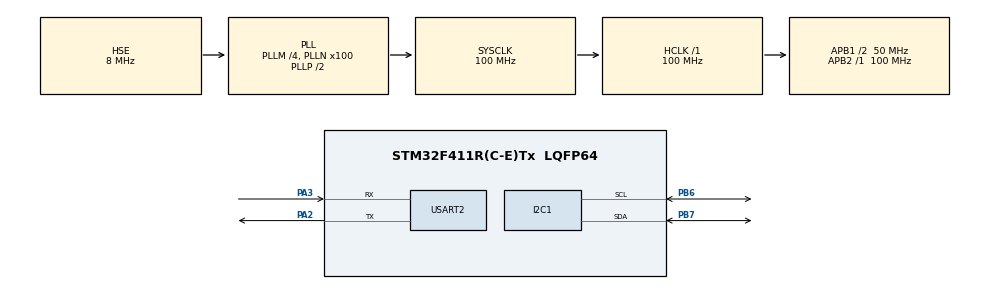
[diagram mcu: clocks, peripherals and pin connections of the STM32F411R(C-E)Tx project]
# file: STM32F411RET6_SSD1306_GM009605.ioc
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Mcu.Family=STM32F4
Mcu.Name=STM32F411R(C-E)Tx
Mcu.Package=LQFP64
NVIC.I2C1_ER_IRQn=true\:0\:0\:false\:false\:true\:true\:true\:true
NVIC.I2C1_EV_IRQn=true\:0\:0\:false\:false\:true\:true\:true\:true
NVIC.PriorityGroup=NVIC_PRIORITYGROUP_4
PA2.Mode=Asynchronous
PA2.Signal=USART2_TX
PA3.Mode=Asynchronous
PA3.Signal=USART2_RX
PB6.Mode=I2C
PB6.Signal=I2C1_SCL
PB7.Mode=I2C
PB7.Signal=I2C1_SDA
PH0\ -\ OSC_IN.Mode=HSE-External-Oscillator
PH0\ -\ OSC_IN.Signal=RCC_OSC_IN
PH1\ -\ OSC_OUT.Mode=HSE-External-Oscillator
PH1\ -\ OSC_OUT.Signal=RCC_OSC_OUT
ProjectManager.HeapSize=0x200
ProjectManager.StackSize=0x400
ProjectManager.TargetToolchain=STM32CubeIDE
RCC.48MHZClocksFreq_Value=50000000
RCC.AHBFreq_Value=100000000
RCC.APB1CLKDivider=RCC_HCLK_DIV2
RCC.APB1Freq_Value=50000000
RCC.APB1TimFreq_Value=100000000
RCC.APB2Freq_Value=100000000
RCC.APB2TimFreq_Value=100000000
RCC.CortexFreq_Value=100000000
RCC.HCLKFreq_Value=100000000
RCC.HSE_VALUE=8000000
RCC.HSI_VALUE=16000000
RCC.PLLM=4
RCC.PLLN=100
RCC.PLLSourceVirtual=RCC_PLLSOURCE_HSE
RCC.SYSCLKFreq_VALUE=100000000
RCC.SYSCLKSource=RCC_SYSCLKSOURCE_PLLCLK
RCC.VCOOutputFreq_Value=200000000
USART2.VirtualMode=VM_ASYNC
board=custom

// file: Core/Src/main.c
/* USER CODE BEGIN Header */
/**
 ******************************************************************************
 * @file           : main.c
 * @brief          : Main program body
 ******************************************************************************
 * @attention
 *
 * Copyright (c) 2024 STMicroelectronics.
 * All rights reserved.
 *
 * This software is licensed under terms that can be found in the LICENSE file
 * in the root directory of this software component.
 * If no LICENSE file comes with this software, it is provided AS-IS.
 *
 ******************************************************************************
 */
/* USER CODE END Header */
#include "main.h"
#define PLATFORM_STM32_HAL
#include <delay.h>
#include <xuart.h>
#include <i2cclient.h>
#include <i2cscanner.h>
#include <display/SSD1306.h>
#include <display/fonts/fontCP866_8x8.h>
#include <display/fonts/font_mono_10x18.h>
#include <display/fonts/font_mono_10x18_min.h>

I2C_HandleTypeDef hi2c1;

UART_HandleTypeDef huart2;

void SystemClock_Config(void);
static void MX_GPIO_Init(void);
static void MX_I2C1_Init(void);
static void MX_USART2_UART_Init(void);

int main(void)
{

    /* MCU Configuration--------------------------------------------------------*/

    /* Reset of all peripherals, Initializes the Flash interface and the Systick. */
    HAL_Init();

    /* Configure the system clock */
    SystemClock_Config();

    /* Initialize all configured peripherals */
    MX_GPIO_Init();
    MX_I2C1_Init();
    MX_USART2_UART_Init();
    /* USER CODE BEGIN 2 */

    static UARTLogger logger(&huart2);
    uint8_t ic = I2CScanner::enumerate(&hi2c1, [](auto addr) {
        logger.writeLine("I2C device found at address %#2X", addr);
    });
    logger.writeLine("%d I2C devices found", ic);
    I2CPollingModeMaster i2c(&hi2c1);
    SSD1306 display(&i2c);
    display.init();
    Delay::wait(1000);

    display.fill(0);
    for (size_t i = 0; i < 8; ++i) {
        display.setPos(i, i);
        display.printString("0", FontCP866_8x8);
    }
    Delay::wait(1000);
    display.setPos(2, 5);
    display.printString("Hello, world!!!", FontCP866_8x8);
    Delay::wait(1000);
    uint8_t lb[8] = {0x41,0x7F,0x7F,0x49,0x1D,0x01,0x03,0x00};
    display.fillWith(lb);
    Delay::wait(1000);
    display.setGraphicsMode();
    display.fill(0);
    /*display.drawLine(0xFFFFFF, 10, 0, 10, 63);
    display.drawLine(0xFFFFFF, 0, 50, 100, 50);
    display.drawLine(0xFFFFFF, 0, 0, 127, 63);
    display.drawLine(0xFFFFFF, 20, 0, 21, 63); // "\"
    display.drawLine(0xFFFFFF, 20, 63, 21, 0); // /
    display.drawLine(0xFFFFFF, 20, 63, 19, 0); // "\"
    display.drawLine(0xFFFFFF, 20, 63, 15, 0); // "\"
    display.drawLine(0xFFFFFF, 20, 63, 10, 0); // "\"
    display.drawEllipse(0xFFFFFF, 10, 10, 100, 40);
    display.drawRectangle(0xFFFFFF, 10, 10, 100, 40);

    display.fillRectangle(0xFFFFFFFF, 50, 20, 40, 15);
    display.fillEllipse(0xFFFFFFFF, 50, 40, 40, 15);*/

    /*uint8_t bmp19x19[] = {
            0b10000000,
            0b01000000,
            0b00101000,
            0b00010100,
            0b00001000,
            0b10000100,
            0b01000010,
            0b00001001,
            0b00000100,
            0b10000000,
            0b11000000,
            0b01100000,
            0b00011000,
            0b00001100,
            0b00000100,
            0b10000010,
            0b01000001,
            0b00001000,
            0b10000100,
            0b01000000,
            0b10100000,
            0b01010000,
            0b00001000,
            0b00000101,
            0b00000010,
            0b10000001,
            0b00010000,
            0b10001000,
            0b01000001,
            0b00100000,
            0b10010000,
            0b00011000,
            0b00001100,
            0b00000011,
            0b00000001,
            0b10000000,
            0b10010000,
            0b01001000,
            0b00100001,
            0b00010000,
            0b10001000,
            0b00010100,
            0b00001010,
            0b00000001,
            0b00000000,
            0b10000000,
    };

    display.drawBitmap(7, 29, bmp19x19, 19, 19, RasterOpCode::SRCAND);
    display.drawBitmap(7 + 19, 29, bmp19x19, 19, 19, RasterOpCode::SRCCOPY);
    display.drawBitmap(7 + 19*2, 29, bmp19x19, 19, 19, RasterOpCode::SRCOR);
    display.drawBitmap(7 + 19*3, 29, bmp19x19, 19, 19, RasterOpCode::SRCXOR);*/

    int charWidth = 10;
    int charHeight = 18;

    display.fill(0);
    display.drawString(0xFFFFFFFF, 0, 0, "Hello, world",
            Font10x18_min, Font10x18_min_remap, Font10x18_min_remap_char_count,
            charWidth, charHeight);
    display.flush();

    /*uint8_t ch = 0;
    char str[2] = {0, 0};
    for (int a = 0; a < 8; ++a) {
        display.fill(0);
        for (int r = 0; r < 3; ++r) {
            for (int c = 0; c < 13; c++) {
                str[0] = ch == 0 ? ' ' : ch;
                ch++;
                display.drawString(0xFFFFFFFF, c * charWidth, r * charHeight, str, Font10x18, charWidth, charHeight);
            }
        }
        display.flush();
        Delay::wait(3000);
    }*/
    /* USER CODE END 2 */

    /* Infinite loop */
    while (1) {

        /* USER CODE BEGIN 3 */
        //display.fillWith(0b11111111);
        //display.fillWith(letterA);
    }
    /* USER CODE END 3 */
}

void SystemClock_Config(void)
{
    RCC_OscInitTypeDef RCC_OscInitStruct = { 0 };
    RCC_ClkInitTypeDef RCC_ClkInitStruct = { 0 };

    /** Configure the main internal regulator output voltage
     */
    __HAL_RCC_PWR_CLK_ENABLE();
    __HAL_PWR_VOLTAGESCALING_CONFIG(PWR_REGULATOR_VOLTAGE_SCALE1);

    /** Initializes the RCC Oscillators according to the specified parameters
     * in the RCC_OscInitTypeDef structure.
     */
    RCC_OscInitStruct.OscillatorType = RCC_OSCILLATORTYPE_HSE;
    RCC_OscInitStruct.HSEState = RCC_HSE_ON;
    RCC_OscInitStruct.PLL.PLLState = RCC_PLL_ON;
    RCC_OscInitStruct.PLL.PLLSource = RCC_PLLSOURCE_HSE;
    RCC_OscInitStruct.PLL.PLLM = 4;
    RCC_OscInitStruct.PLL.PLLN = 100;
    RCC_OscInitStruct.PLL.PLLP = RCC_PLLP_DIV2;
    RCC_OscInitStruct.PLL.PLLQ = 4;
    if (HAL_RCC_OscConfig(&RCC_OscInitStruct) != HAL_OK) {
        Error_Handler();
    }

    /** Initializes the CPU, AHB and APB buses clocks
     */
    RCC_ClkInitStruct.ClockType = RCC_CLOCKTYPE_HCLK | RCC_CLOCKTYPE_SYSCLK
            | RCC_CLOCKTYPE_PCLK1 | RCC_CLOCKTYPE_PCLK2;
    RCC_ClkInitStruct.SYSCLKSource = RCC_SYSCLKSOURCE_PLLCLK;
    RCC_ClkInitStruct.AHBCLKDivider = RCC_SYSCLK_DIV1;
    RCC_ClkInitStruct.APB1CLKDivider = RCC_HCLK_DIV2;
    RCC_ClkInitStruct.APB2CLKDivider = RCC_HCLK_DIV1;

    if (HAL_RCC_ClockConfig(&RCC_ClkInitStruct, FLASH_LATENCY_3) != HAL_OK) {
        Error_Handler();
    }
}

static void MX_I2C1_Init(void)
{

    hi2c1.Instance = I2C1;
    hi2c1.Init.ClockSpeed = 100000;
    hi2c1.Init.DutyCycle = I2C_DUTYCYCLE_2;
    hi2c1.Init.OwnAddress1 = 0;
    hi2c1.Init.AddressingMode = I2C_ADDRESSINGMODE_7BIT;
    hi2c1.Init.DualAddressMode = I2C_DUALADDRESS_DISABLE;
    hi2c1.Init.OwnAddress2 = 0;
    hi2c1.Init.GeneralCallMode = I2C_GENERALCALL_DISABLE;
    hi2c1.Init.NoStretchMode = I2C_NOSTRETCH_DISABLE;
    if (HAL_I2C_Init(&hi2c1) != HAL_OK) {
        Error_Handler();
    }

}

static void MX_USART2_UART_Init(void)
{

    huart2.Instance = USART2;
    huart2.Init.BaudRate = 115200;
    huart2.Init.WordLength = UART_WORDLENGTH_8B;
    huart2.Init.StopBits = UART_STOPBITS_1;
    huart2.Init.Parity = UART_PARITY_NONE;
    huart2.Init.Mode = UART_MODE_TX_RX;
    huart2.Init.HwFlowCtl = UART_HWCONTROL_NONE;
    huart2.Init.OverSampling = UART_OVERSAMPLING_16;
    if (HAL_UART_Init(&huart2) != HAL_OK) {
        Error_Handler();
    }

}

static void MX_GPIO_Init(void)
{

    /* GPIO Ports Clock Enable */
    __HAL_RCC_GPIOH_CLK_ENABLE();
    __HAL_RCC_GPIOA_CLK_ENABLE();
    __HAL_RCC_GPIOB_CLK_ENABLE();

}

void Error_Handler(void)
{
    __disable_irq();
    while (1) {
    }
}
